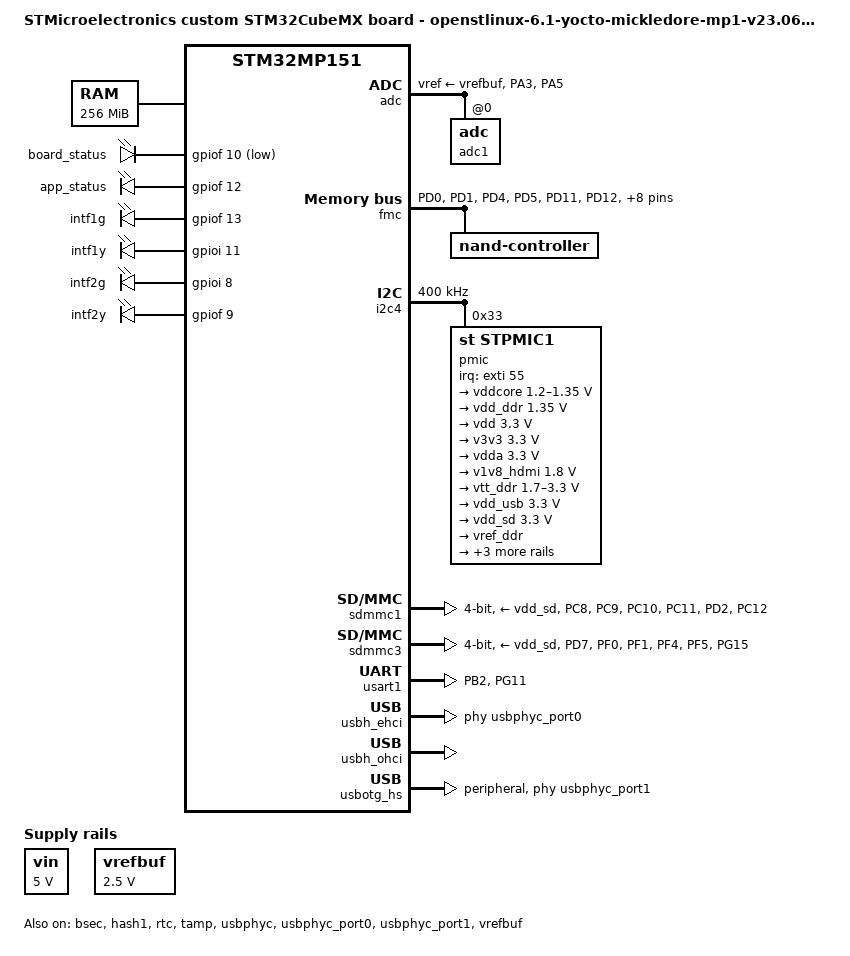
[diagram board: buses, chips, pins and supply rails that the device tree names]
// SPDX-License-Identifier: (GPL-2.0-or-later OR BSD-3-Clause)
/*
 * Copyright (C) 2024, STMicroelectronics - All Rights Reserved
 * Author: STM32CubeMX code generation for STMicroelectronics.
 */

/* For more information on Device Tree configuration, please refer to
 * https://wiki.st.com/stm32mpu/wiki/Category:Device_tree_configuration
 */

 /dts-v1/;
 #include <dt-bindings/pinctrl/stm32-pinfunc.h>
 
 #include "stm32mp151.dtsi"
 #include "stm32mp15xa.dtsi"
 #include "stm32mp15xxac-pinctrl.dtsi"
 #include "stm32mp15-m4-srm.dtsi"
 
 /* USER CODE BEGIN includes */
 #include <dt-bindings/mfd/st,stpmic1.h>
 #include "mcu-scmi.dtsi"
 /* USER CODE END includes */
 
 / {
     model = "STMicroelectronics custom STM32CubeMX board - openstlinux-6.1-yocto-mickledore-mp1-v23.06.21";
     compatible = "st,stm32mp151a-mcu-xx-mx", "st,stm32mp151";
 
     memory@c0000000 {
         device_type = "memory";
         reg = <0xc0000000 0x10000000>;
 
         /* USER CODE BEGIN memory */
         /* USER CODE END memory */
     };
 
     reserved-memory {
         #address-cells = <1>;
         #size-cells = <1>;
         ranges;
 
         /* USER CODE BEGIN reserved-memory */
         mcuram2: mcuram2@10000000 {
             compatible = "shared-dma-pool";
             reg = <0x10000000 0x5a000>;
             no-map;
         };
 
         vdev0vring0: vdev0vring0@1005a000 {
             compatible = "shared-dma-pool";
             reg = <0x1005a000 0x1000>;
             no-map;
         };
 
         vdev0vring1: vdev0vring1@1005b000 {
             compatible = "shared-dma-pool";
             reg = <0x1005b000 0x1000>;
             no-map;
         };
 
         vdev0buffer: vdev0buffer@1005c000 {
             compatible = "shared-dma-pool";
             reg = <0x1005c000 0x4000>;
             no-map;
         };
 
         mcuram: mcuram@30000000 {
             compatible = "shared-dma-pool";
             reg = <0x30000000 0x5a000>;
             no-map;
         };
 
         retram: retram@38000000 {
             compatible = "shared-dma-pool";
             reg = <0x38000000 0x10000>;
             no-map;
         };
         /* USER CODE END reserved-memory */
     };
 
     /* USER CODE BEGIN root */
     aliases {
         serial0 = &usart1;
     };
 
     chosen {
         stdout-path = "serial0:115200n8";
     };
 
     usb_phy_tuning: usb-phy-tuning {
         st,hs-dc-level = <2>;
         st,fs-rftime-tuning;
         st,hs-rftime-reduction;
         st,hs-current-trim = <15>;
         st,hs-impedance-trim = <1>;
         st,squelch-level = <3>;
         st,hs-rx-offset = <2>;
         st,no-lsfs-sc;
     };
 
     vin: vin {
         compatible = "regulator-fixed";
         regulator-name = "vin";
         regulator-min-microvolt = <5000000>;
         regulator-max-microvolt = <5000000>;
         regulator-always-on;
     };
 
     led {
         compatible = "gpio-leds";
         board_status {
             gpios = <&gpiof 10 GPIO_ACTIVE_LOW>;
             default-state = "on";
         };
 
         app_status {
             gpios = <&gpiof 12 GPIO_ACTIVE_HIGH>;
             default-state = "on";
         };
 
         intf1g {
             gpios = <&gpiof 13 GPIO_ACTIVE_HIGH>;
             default-state = "on";
         };
 
         intf1y {
             gpios = <&gpioi 11 GPIO_ACTIVE_HIGH>;
             default-state = "on";
         };
 
         intf2g {
             gpios = <&gpioi 8 GPIO_ACTIVE_HIGH>;
             default-state = "on";
         };
 
         intf2y {
             gpios = <&gpiof 9 GPIO_ACTIVE_HIGH>;
             default-state = "on";
         };
     };
     /* USER CODE END root */
 
     clocks{
 
         /* USER CODE BEGIN clocks */
         /* USER CODE END clocks */
     };
 
 }; /*root*/
 
 &pinctrl {
 
     adc_pins_mx: adc_mx-0 {
         pins {
             pinmux = <STM32_PINMUX('A', 3, ANALOG)>, /* ADC1_INP15 */
                      <STM32_PINMUX('A', 5, ANALOG)>; /* ADC1_INP19 */
         };
     };
 
     adc_sleep_pins_mx: adc_sleep_mx-0 {
         pins {
             pinmux = <STM32_PINMUX('A', 3, ANALOG)>, /* ADC1_INP15 */
                      <STM32_PINMUX('A', 5, ANALOG)>; /* ADC1_INP19 */
         };
     };
 
     eth1_pins_mx: eth1_mx-0 {
         pins1 {
             pinmux = <STM32_PINMUX('A', 1, AF11)>, /* ETH1_RX_CLK */
                      <STM32_PINMUX('A', 7, AF11)>, /* ETH1_RX_DV */
                      <STM32_PINMUX('B', 1, AF11)>, /* ETH1_RXD3 */
                      <STM32_PINMUX('C', 3, AF11)>, /* ETH1_TX_CLK */
                      <STM32_PINMUX('H', 2, AF11)>, /* ETH1_CRS */
                      <STM32_PINMUX('H', 3, AF11)>, /* ETH1_COL */
                      <STM32_PINMUX('I', 10, AF11)>; /* ETH1_RX_ER */
             bias-disable;
         };
         pins2 {
             pinmux = <STM32_PINMUX('A', 2, AF11)>; /* ETH1_MDIO */
             bias-disable;
             drive-push-pull;
             slew-rate = <0>;
         };
         pins3 {
             pinmux = <STM32_PINMUX('B', 0, AF11)>, /* ETH1_RXD2 */
                      <STM32_PINMUX('C', 4, AF11)>; /* ETH1_RXD0 */
             bias-pull-down;
         };
         pins4 {
             pinmux = <STM32_PINMUX('B', 11, AF11)>, /* ETH1_TX_EN */
                      <STM32_PINMUX('C', 1, AF11)>, /* ETH1_MDC */
                      <STM32_PINMUX('C', 2, AF11)>, /* ETH1_TXD2 */
                      <STM32_PINMUX('E', 2, AF11)>, /* ETH1_TXD3 */
                      <STM32_PINMUX('G', 13, AF11)>, /* ETH1_TXD0 */
                      <STM32_PINMUX('G', 14, AF11)>; /* ETH1_TXD1 */
             bias-disable;
             drive-push-pull;
             slew-rate = <1>;
         };
         pins5 {
             pinmux = <STM32_PINMUX('C', 5, AF11)>; /* ETH1_RXD1 */
             bias-pull-up;
         };
     };
 
     eth1_sleep_pins_mx: eth1_sleep_mx-0 {
         pins {
             pinmux = <STM32_PINMUX('A', 1, ANALOG)>, /* ETH1_RX_CLK */
                      <STM32_PINMUX('A', 2, ANALOG)>, /* ETH1_MDIO */
                      <STM32_PINMUX('A', 7, ANALOG)>, /* ETH1_RX_DV */
                      <STM32_PINMUX('B', 0, ANALOG)>, /* ETH1_RXD2 */
                      <STM32_PINMUX('B', 1, ANALOG)>, /* ETH1_RXD3 */
                      <STM32_PINMUX('B', 11, ANALOG)>, /* ETH1_TX_EN */
                      <STM32_PINMUX('C', 1, ANALOG)>, /* ETH1_MDC */
                      <STM32_PINMUX('C', 2, ANALOG)>, /* ETH1_TXD2 */
                      <STM32_PINMUX('C', 3, ANALOG)>, /* ETH1_TX_CLK */
                      <STM32_PINMUX('C', 4, ANALOG)>, /* ETH1_RXD0 */
                      <STM32_PINMUX('C', 5, ANALOG)>, /* ETH1_RXD1 */
                      <STM32_PINMUX('E', 2, ANALOG)>, /* ETH1_TXD3 */
                      <STM32_PINMUX('G', 13, ANALOG)>, /* ETH1_TXD0 */
                      <STM32_PINMUX('G', 14, ANALOG)>, /* ETH1_TXD1 */
                      <STM32_PINMUX('H', 2, ANALOG)>, /* ETH1_CRS */
                      <STM32_PINMUX('H', 3, ANALOG)>, /* ETH1_COL */
                      <STM32_PINMUX('I', 10, ANALOG)>; /* ETH1_RX_ER */
         };
     };
 
     fmc_pins_mx: fmc_mx-0 {
         pins1 {
             pinmux = <STM32_PINMUX('D', 0, AF12)>, /* FMC_D2 */
                      <STM32_PINMUX('D', 1, AF12)>, /* FMC_D3 */
                      <STM32_PINMUX('D', 4, AF12)>, /* FMC_NOE */
                      <STM32_PINMUX('D', 5, AF12)>, /* FMC_NWE */
                      <STM32_PINMUX('D', 11, AF12)>, /* FMC_CLE */
                      <STM32_PINMUX('D', 12, AF12)>, /* FMC_ALE */
                      <STM32_PINMUX('D', 14, AF12)>, /* FMC_D0 */
                      <STM32_PINMUX('D', 15, AF12)>, /* FMC_D1 */
                      <STM32_PINMUX('E', 7, AF12)>, /* FMC_D4 */
                      <STM32_PINMUX('E', 8, AF12)>, /* FMC_D5 */
                      <STM32_PINMUX('E', 9, AF12)>, /* FMC_D6 */
                      <STM32_PINMUX('E', 10, AF12)>, /* FMC_D7 */
                      <STM32_PINMUX('G', 9, AF12)>; /* FMC_NCE */
             bias-disable;
             drive-push-pull;
             slew-rate = <1>;
         };
         pins2 {
             pinmux = <STM32_PINMUX('D', 6, AF12)>; /* FMC_NWAIT */
             bias-pull-up;
         };
     };
 
     fmc_sleep_pins_mx: fmc_sleep_mx-0 {
         pins {
             pinmux = <STM32_PINMUX('D', 0, ANALOG)>, /* FMC_D2 */
                      <STM32_PINMUX('D', 1, ANALOG)>, /* FMC_D3 */
                      <STM32_PINMUX('D', 4, ANALOG)>, /* FMC_NOE */
                      <STM32_PINMUX('D', 5, ANALOG)>, /* FMC_NWE */
                      <STM32_PINMUX('D', 6, ANALOG)>, /* FMC_NWAIT */
                      <STM32_PINMUX('D', 11, ANALOG)>, /* FMC_CLE */
                      <STM32_PINMUX('D', 12, ANALOG)>, /* FMC_ALE */
                      <STM32_PINMUX('D', 14, ANALOG)>, /* FMC_D0 */
                      <STM32_PINMUX('D', 15, ANALOG)>, /* FMC_D1 */
                      <STM32_PINMUX('E', 7, ANALOG)>, /* FMC_D4 */
                      <STM32_PINMUX('E', 8, ANALOG)>, /* FMC_D5 */
                      <STM32_PINMUX('E', 9, ANALOG)>, /* FMC_D6 */
                      <STM32_PINMUX('E', 10, ANALOG)>, /* FMC_D7 */
                      <STM32_PINMUX('G', 9, ANALOG)>; /* FMC_NCE */
         };
     };
 
     sdmmc1_pins_mx: sdmmc1_mx-0 {
         pins1 {
             pinmux = <STM32_PINMUX('C', 8, AF12)>, /* SDMMC1_D0 */
                      <STM32_PINMUX('C', 9, AF12)>, /* SDMMC1_D1 */
                      <STM32_PINMUX('C', 10, AF12)>, /* SDMMC1_D2 */
                      <STM32_PINMUX('C', 11, AF12)>, /* SDMMC1_D3 */
                      <STM32_PINMUX('D', 2, AF12)>; /* SDMMC1_CMD */
             bias-pull-up;
             drive-push-pull;
             slew-rate = <1>;
         };
         pins2 {
             pinmux = <STM32_PINMUX('C', 12, AF12)>; /* SDMMC1_CK */
             bias-disable;
             drive-push-pull;
             slew-rate = <3>;
         };
     };
 
     sdmmc1_opendrain_pins_mx: sdmmc1_opendrain_mx-0 {
         pins1 {
             pinmux = <STM32_PINMUX('C', 8, AF12)>, /* SDMMC1_D0 */
                      <STM32_PINMUX('C', 9, AF12)>, /* SDMMC1_D1 */
                      <STM32_PINMUX('C', 10, AF12)>, /* SDMMC1_D2 */
                      <STM32_PINMUX('C', 11, AF12)>; /* SDMMC1_D3 */
             bias-pull-up;
             drive-push-pull;
             slew-rate = <1>;
         };
         pins2 {
             pinmux = <STM32_PINMUX('C', 12, AF12)>; /* SDMMC1_CK */
             bias-disable;
             drive-push-pull;
             slew-rate = <3>;
         };
         pins3 {
             pinmux = <STM32_PINMUX('D', 2, AF12)>; /* SDMMC1_CMD */
             bias-pull-up;
             drive-open-drain;
             slew-rate = <1>;
         };
     };
 
     sdmmc1_sleep_pins_mx: sdmmc1_sleep_mx-0 {
         pins {
             pinmux = <STM32_PINMUX('C', 8, ANALOG)>, /* SDMMC1_D0 */
                      <STM32_PINMUX('C', 9, ANALOG)>, /* SDMMC1_D1 */
                      <STM32_PINMUX('C', 10, ANALOG)>, /* SDMMC1_D2 */
                      <STM32_PINMUX('C', 11, ANALOG)>, /* SDMMC1_D3 */
                      <STM32_PINMUX('C', 12, ANALOG)>, /* SDMMC1_CK */
                      <STM32_PINMUX('D', 2, ANALOG)>; /* SDMMC1_CMD */
         };
     };
 
     sdmmc3_pins_mx: sdmmc3_mx-0 {
         pins1 {
             pinmux = <STM32_PINMUX('D', 7, AF10)>, /* SDMMC3_D3 */
                      <STM32_PINMUX('F', 0, AF9)>, /* SDMMC3_D0 */
                      <STM32_PINMUX('F', 1, AF9)>, /* SDMMC3_CMD */
                      <STM32_PINMUX('F', 4, AF9)>, /* SDMMC3_D1 */
                      <STM32_PINMUX('F', 5, AF9)>; /* SDMMC3_D2 */
             bias-pull-up;
             drive-push-pull;
             slew-rate = <1>;
         };
         pins2 {
             pinmux = <STM32_PINMUX('G', 15, AF10)>; /* SDMMC3_CK */
             bias-disable;
             drive-push-pull;
             slew-rate = <3>;
         };
     };
 
     sdmmc3_opendrain_pins_mx: sdmmc3_opendrain_mx-0 {
         pins1 {
             pinmux = <STM32_PINMUX('D', 7, AF10)>, /* SDMMC3_D3 */
                      <STM32_PINMUX('F', 0, AF9)>, /* SDMMC3_D0 */
                      <STM32_PINMUX('F', 4, AF9)>, /* SDMMC3_D1 */
                      <STM32_PINMUX('F', 5, AF9)>; /* SDMMC3_D2 */
             bias-pull-up;
             drive-push-pull;
             slew-rate = <1>;
         };
         pins2 {
             pinmux = <STM32_PINMUX('F', 1, AF9)>; /* SDMMC3_CMD */
             bias-pull-up;
             drive-open-drain;
             slew-rate = <1>;
         };
         pins3 {
             pinmux = <STM32_PINMUX('G', 15, AF10)>; /* SDMMC3_CK */
             bias-disable;
             drive-push-pull;
             slew-rate = <3>;
         };
     };
 
     sdmmc3_sleep_pins_mx: sdmmc3_sleep_mx-0 {
         pins {
             pinmux = <STM32_PINMUX('D', 7, ANALOG)>, /* SDMMC3_D3 */
                      <STM32_PINMUX('F', 0, ANALOG)>, /* SDMMC3_D0 */
                      <STM32_PINMUX('F', 1, ANALOG)>, /* SDMMC3_CMD */
                      <STM32_PINMUX('F', 4, ANALOG)>, /* SDMMC3_D1 */
                      <STM32_PINMUX('F', 5, ANALOG)>, /* SDMMC3_D2 */
                      <STM32_PINMUX('G', 15, ANALOG)>; /* SDMMC3_CK */
         };
     };
 
     usart1_pins_mx: usart1_mx-0 {
         pins1 {
             pinmux = <STM32_PINMUX('B', 2, AF4)>; /* USART1_RX */
             bias-disable;
         };
         pins2 {
             pinmux = <STM32_PINMUX('G', 11, AF4)>; /* USART1_TX */
             bias-disable;
             drive-push-pull;
             slew-rate = <0>;
         };
     };
 
     usart1_idle_pins_mx: usart1_idle_mx-0 {
         pins1 {
             pinmux = <STM32_PINMUX('B', 2, AF4)>; /* USART1_RX */
             bias-disable;
         };
         pins2 {
             pinmux = <STM32_PINMUX('G', 11, ANALOG)>; /* USART1_TX */
         };
     };
 
     usart1_sleep_pins_mx: usart1_sleep_mx-0 {
         pins {
             pinmux = <STM32_PINMUX('B', 2, ANALOG)>, /* USART1_RX */
                      <STM32_PINMUX('G', 11, ANALOG)>; /* USART1_TX */
         };
     };
 
     /* USER CODE BEGIN pinctrl */
     /* USER CODE END pinctrl */
 };
 
 &pinctrl_z {
 
     i2c4_pins_z_mx: i2c4_mx-0 {
         pins {
             pinmux = <STM32_PINMUX('Z', 4, AF6)>, /* I2C4_SCL */
                      <STM32_PINMUX('Z', 5, AF6)>; /* I2C4_SDA */
             bias-disable;
             drive-open-drain;
             slew-rate = <0>;
         };
     };
 
     i2c4_sleep_pins_z_mx: i2c4_sleep_mx-0 {
         pins {
             pinmux = <STM32_PINMUX('Z', 4, ANALOG)>, /* I2C4_SCL */
                      <STM32_PINMUX('Z', 5, ANALOG)>; /* I2C4_SDA */
         };
     };
 
     /* USER CODE BEGIN pinctrl_z */
     /* USER CODE END pinctrl_z */
 };
 
 &adc{
     pinctrl-names = "default", "sleep";
     pinctrl-0 = <&adc_pins_mx>;
     pinctrl-1 = <&adc_sleep_pins_mx>;
     status = "okay";
 
     /* USER CODE BEGIN adc */
     vdda-supply = <&vdda>;
     vref-supply = <&vrefbuf>;
     adc1: adc@0 {
         #address-cells = <1>;
         #size-cells = <0>;
         status = "okay";
         channel@0 {
             reg = <0>;
             st,min-sample-time-ns = <10000>;
         };
         channel@1 {
             reg = <1>;
             st,min-sample-time-ns = <10000>;
         };
         channel@15 {
             reg = <15>;
             st,min-sample-time-ns = <10000>;
         };
         channel@19 {
             reg = <19>;
             st,min-sample-time-ns = <10000>;
         };
     };
     /* USER CODE END adc */
 };
 
 &bsec{
     status = "okay";
 
     /* USER CODE BEGIN bsec */
     /* USER CODE END bsec */
 };
 
 &dma1{
     status = "okay";
 
     /* USER CODE BEGIN dma1 */
     /* USER CODE END dma1 */
 };
 
 &dma2{
     status = "okay";
 
     /* USER CODE BEGIN dma2 */
     /* USER CODE END dma2 */
 };
 
 &dmamux1{
     status = "okay";
 
     dma-masters = <&dma1 &dma2>;
     dma-channels = <16>;
 
     /* USER CODE BEGIN dmamux1 */
     /* USER CODE END dmamux1 */
 };
 
 &fmc{
     pinctrl-names = "default", "sleep";
     pinctrl-0 = <&fmc_pins_mx>;
     pinctrl-1 = <&fmc_sleep_pins_mx>;
     status = "okay";
 
     /* USER CODE BEGIN fmc */
     nand-controller@4,0 {
         status = "okay";
                              
         nand@0 {
             reg = <0>;
             nand-on-flash-bbt;
             nand-ecc-strength = <4>;
             nand-ecc-step-size = <512>;
             #address-cells = <1>;
             #size-cells = <1>;
         };
     }; 
     /* USER CODE END fmc */
 };
 
 &hash1{
     status = "okay";
 
     /* USER CODE BEGIN hash1 */
     /* USER CODE END hash1 */
 };
 
 &i2c4{
     pinctrl-names = "default", "sleep";
     pinctrl-0 = <&i2c4_pins_z_mx>;
     pinctrl-1 = <&i2c4_sleep_pins_z_mx>;
     status = "okay";
 
     /* USER CODE BEGIN i2c4 */
     i2c-scl-rising-time-ns = <185>;
     i2c-scl-falling-time-ns = <20>;
     clock-frequency = <400000>;
     /delete-property/dmas;
     /delete-property/dma-names;
     
     pmic: stpmic@33 {
         compatible = "st,stpmic1";
         reg = <0x33>;
         interrupts-extended = <&exti 55 IRQ_TYPE_EDGE_FALLING>;
         interrupt-controller;
         #interrupt-cells = <2>;
         status = "okay";
 
         regulators {
             compatible = "st,stpmic1-regulators";
             buck1-supply = <&vin>;
             buck2-supply = <&vin>;
             buck3-supply = <&vin>;
             buck4-supply = <&vin>;
             ldo1-supply = <&v3v3>;
             ldo2-supply = <&vin>;
             ldo3-supply = <&vdd_ddr>;
             ldo4-supply = <&vin>;
             ldo5-supply = <&vin>;
             ldo6-supply = <&v3v3>;
             vref_ddr-supply = <&vin>;
             boost-supply = <&vin>;
             pwr_sw1-supply = <&bst_out>;
             pwr_sw2-supply = <&bst_out>;
         
 
             vddcore: buck1 {
                 regulator-name = "vddcore";
                 regulator-min-microvolt = <1200000>;
                 regulator-max-microvolt = <1350000>;
                 regulator-always-on;
                 regulator-initial-mode = <0>;
                 regulator-over-current-protection;
             };
 
             vdd_ddr: buck2 {
                 regulator-name = "vdd_ddr";
                 regulator-min-microvolt = <1350000>;
                 regulator-max-microvolt = <1350000>;
                 regulator-always-on;
                 regulator-initial-mode = <0>;
                 regulator-over-current-protection;
             };
 
             vdd: buck3 {
                 regulator-name = "vdd";
                 regulator-min-microvolt = <3300000>;
                 regulator-max-microvolt = <3300000>;
                 regulator-always-on;
                 st,mask-reset;
                 regulator-initial-mode = <0>;
                 regulator-over-current-protection;
             };
 
             v3v3: buck4 {
                 regulator-name = "v3v3";
                 regulator-min-microvolt = <3300000>;
                 regulator-max-microvolt = <3300000>;
                 regulator-always-on;
                 regulator-over-current-protection;
                 regulator-initial-mode = <0>;
             };
             
             vdda: ldo1 {
                 regulator-name = "vdda";
                 regulator-min-microvolt = <3300000>;
                 regulator-max-microvolt = <3300000>;
                 regulator-always-on;
                 interrupts = <IT_CURLIM_LDO1 0>;
 
             };
 
             v1v8_hdmi: ldo2 {
                 regulator-name = "v1v8_hdmi";
                 regulator-min-microvolt = <1800000>;
                 regulator-max-microvolt = <1800000>;
                 regulator-always-on;
                 interrupts = <IT_CURLIM_LDO2 0>;
 
             };
 
             vtt_ddr: ldo3 {
                 regulator-name = "vtt_ddr";
                 regulator-min-microvolt = <1700000>;
                 regulator-max-microvolt = <3300000>;
                 regulator-always-on;
                 regulator-over-current-protection;
             };
 
             vdd_usb: ldo4 {
                 regulator-name = "vdd_usb";
                 regulator-min-microvolt = <3300000>;
                 regulator-max-microvolt = <3300000>;
                 interrupts = <IT_CURLIM_LDO4 0>;
                 regulator-always-on;
             };
 
             vdd_sd: ldo5 {
                 regulator-name = "vdd_sd";
                 regulator-min-microvolt = <3300000>;
                 regulator-max-microvolt = <3300000>;
                 interrupts = <IT_CURLIM_LDO5 0>;
                 regulator-boot-on;
             };
 
             vref_ddr: vref_ddr {
                 regulator-name = "vref_ddr";
                 regulator-always-on;
                 regulator-over-current-protection;
             };
 
             bst_out: boost {
                 regulator-name = "bst_out";
                 interrupts = <IT_OCP_BOOST 0>;
             };
 
             vbus_otg: pwr_sw1 {
                 regulator-name = "vbus_otg";
                 interrupts = <IT_OCP_OTG 0>;
             };
 
             vbus_sw: pwr_sw2 {
                 regulator-name = "vbus_sw";
                 interrupts = <IT_OCP_SWOUT 0>;
                 regulator-active-discharge = <1>;
             };
         };
 
         onkey {
             compatible = "st,stpmic1-onkey";
             interrupts = <IT_PONKEY_F 0>, <IT_PONKEY_R 0>;
             interrupt-names = "onkey-falling", "onkey-rising";
             power-off-time-sec = <10>;
             status = "okay";
         };
 
         watchdog {
             compatible = "st,stpmic1-wdt";
             status = "disabled";
         };
     };
     /* USER CODE END i2c4 */
 };
 
 &mdma1{
     status = "okay";
 
     /* USER CODE BEGIN mdma1 */
     /* USER CODE END mdma1 */
 };
 
 &rcc{
     status = "okay";
 
     /* USER CODE BEGIN rcc */
     /* USER CODE END rcc */
 };
 
 &rtc{
     status = "okay";
 
     /* USER CODE BEGIN rtc */
     /* USER CODE END rtc */
 };
 
 &sdmmc1{
     pinctrl-names = "default", "opendrain", "sleep";
     pinctrl-0 = <&sdmmc1_pins_mx>;
     pinctrl-1 = <&sdmmc1_opendrain_pins_mx>;
     pinctrl-2 = <&sdmmc1_sleep_pins_mx>;
     status = "okay";
 
     /* USER CODE BEGIN sdmmc1 */
     broken-cd;
     st,neg-edge;
     bus-width = <4>;
     vmmc-supply = <&vdd_sd>;
     /* USER CODE END sdmmc1 */
 };
 
 &sdmmc3{
     pinctrl-names = "default", "opendrain", "sleep";
     pinctrl-0 = <&sdmmc3_pins_mx>;
     pinctrl-1 = <&sdmmc3_opendrain_pins_mx>;
     pinctrl-2 = <&sdmmc3_sleep_pins_mx>;
     status = "okay";
 
     /* USER CODE BEGIN sdmmc3 */
     broken-cd;
     st,neg-edge;
     bus-width = <4>;
     vmmc-supply = <&vdd_sd>;
     /* USER CODE END sdmmc3 */
 };
 
 &tamp{
     status = "okay";
 
     /* USER CODE BEGIN tamp */
     /* USER CODE END tamp */
 };
 
 &usart1{
     pinctrl-names = "default", "idle", "sleep";
     pinctrl-0 = <&usart1_pins_mx>;
     pinctrl-1 = <&usart1_idle_pins_mx>;
     pinctrl-2 = <&usart1_sleep_pins_mx>;
     status = "okay";
 
     /* USER CODE BEGIN usart1 */
     /* USER CODE END usart1 */
 };
 
 &usbh_ehci{
     status = "okay";
 
     /* USER CODE BEGIN usbh_ehci */
     phys = <&usbphyc_port0>;
     /* USER CODE END usbh_ehci */
 };
 
 &usbh_ohci{
     status = "okay";
 
     /* USER CODE BEGIN usbh_ohci */
     /* USER CODE END usbh_ohci */
 };
 
 &usbotg_hs{
     status = "okay";
 
     /* USER CODE BEGIN usbotg_hs */
     u-boot,force-b-session-valid;
     hnp-srp-disable;
     /* TEMP: force peripheral for USB OTG */
     dr_mode = "peripheral";
     phys = <&usbphyc_port1 0>;
     phy-names = "usb2-phy";
     
     status = "okay";
 
     // port {
     // 		usbotg_hs_ep: endpoint {
     // 				remote-endpoint = <&con_usbotg_hs_ep>;
     // 		};
     // };
     /* USER CODE END usbotg_hs */
 };
 
 &usbphyc{
     status = "okay";
 
     /* USER CODE BEGIN usbphyc */
     /* USER CODE END usbphyc */
 };
 
 &usbphyc_port0{
     status = "okay";
 
     /* USER CODE BEGIN usbphyc_port0 */
     phy-supply = <&vdd_usb>;
     st,phy-tuning = <&usb_phy_tuning>;
     /* USER CODE END usbphyc_port0 */
 };
 
 &usbphyc_port1{
     status = "okay";
 
     /* USER CODE BEGIN usbphyc_port1 */
     phy-supply = <&vdd_usb>;
     st,phy-tuning = <&usb_phy_tuning>;
     /* USER CODE END usbphyc_port1 */
 };
 
 /* USER CODE BEGIN addons */
 &vrefbuf{
     status = "okay";
 
     /* USER CODE BEGIN vrefbuf */
     regulator-min-microvolt = <2500000>;
     regulator-max-microvolt = <2500000>;
     vdda-supply = <&vdda>;
     /* USER CODE END vrefbuf */
 };
 /* USER CODE END addons */
 
 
